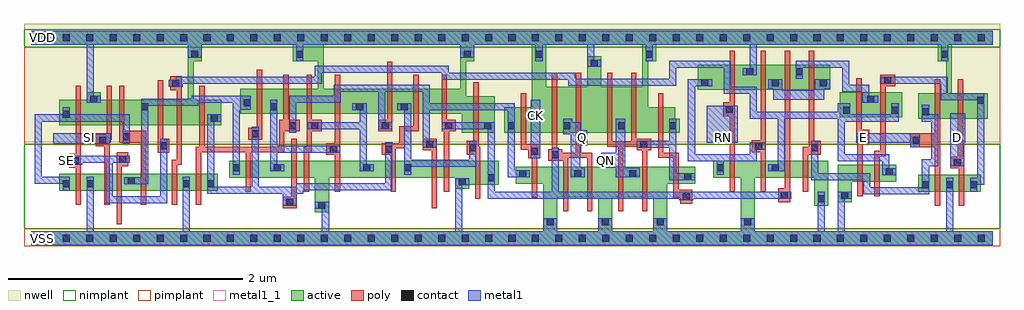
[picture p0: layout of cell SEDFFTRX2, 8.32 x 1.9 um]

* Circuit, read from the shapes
.subckt SEDFFTRX2 CK D E Q QN RN SE SI VDD VSS
M1 VSS SE n1 VSS nfet w=0.145u l=0.045u
M2 n2 SI VSS VSS nfet w=0.145u l=0.045u
M3 n3 SE n2 VSS nfet w=0.145u l=0.045u
M4 n4 n1 n3 VSS nfet w=0.145u l=0.045u
M5 VSS n5 n4 VSS nfet w=0.145u l=0.045u
M6 n6 n7 VSS VSS nfet w=0.145u l=0.045u
M7 n8 n7 n3 VSS nfet w=0.145u l=0.045u
M8 n9 n6 n8 VSS nfet w=0.145u l=0.045u
M9 VSS n10 n9 VSS nfet w=0.145u l=0.045u
M10 n10 n8 VSS VSS nfet w=0.145u l=0.045u
M11 n11 n6 n10 VSS nfet w=0.145u l=0.045u
M12 n12 n7 n11 VSS nfet w=0.145u l=0.045u
M13 VSS n13 n12 VSS nfet w=0.145u l=0.045u
M14 n13 n11 VSS VSS nfet w=0.205u l=0.045u
M15 VSS CK n7 VSS nfet w=0.145u l=0.045u
M16 Q n13 VSS VSS nfet w=0.26u l=0.045u m=2
M17 QN n14 VSS VSS nfet w=0.26u l=0.045u m=2
M18 n14 n13 VSS VSS nfet w=0.145u l=0.045u
M19 VSS RN n15 VSS nfet w=0.145u l=0.045u
M20 n5 n15 VSS VSS nfet w=0.145u l=0.045u
M21 n16 n13 n5 VSS nfet w=0.145u l=0.045u
M22 VSS n17 n16 VSS nfet w=0.145u l=0.045u
M23 n18 E VSS VSS nfet w=0.145u l=0.045u
M24 n5 n19 n18 VSS nfet w=0.145u l=0.045u
M25 VSS E n17 VSS nfet w=0.145u l=0.045u
M26 n19 D VSS VSS nfet w=0.145u l=0.045u
M27 VDD SE n1 VDD pfet w=0.215u l=0.045u
M28 n20 SI VDD VDD pfet w=0.215u l=0.045u
M29 n3 n1 n20 VDD pfet w=0.215u l=0.045u
M30 n21 SE n3 VDD pfet w=0.215u l=0.045u
M31 VDD n5 n21 VDD pfet w=0.215u l=0.045u
M32 n6 n7 VDD VDD pfet w=0.215u l=0.045u
M33 n8 n6 n3 VDD pfet w=0.215u l=0.045u
M34 n22 n7 n8 VDD pfet w=0.215u l=0.045u
M35 VDD n10 n22 VDD pfet w=0.215u l=0.045u
M36 n10 n8 VDD VDD pfet w=0.215u l=0.045u
M37 n11 n7 n10 VDD pfet w=0.215u l=0.045u
M38 n23 n6 n11 VDD pfet w=0.215u l=0.045u
M39 VDD n13 n23 VDD pfet w=0.215u l=0.045u
M40 n13 n11 VDD VDD pfet w=0.31u l=0.045u
M41 VDD CK n7 VDD pfet w=0.215u l=0.045u
M42 Q n13 VDD VDD pfet w=0.39u l=0.045u m=2
M43 QN n14 VDD VDD pfet w=0.39u l=0.045u m=2
M44 n14 n13 VDD VDD pfet w=0.215u l=0.045u
M45 VDD RN n15 VDD pfet w=0.215u l=0.045u
M46 n24 n15 VDD VDD pfet w=0.215u l=0.045u
M47 n25 n13 n24 VDD pfet w=0.215u l=0.045u
M48 n24 n17 n25 VDD pfet w=0.215u l=0.045u
M49 n25 E n5 VDD pfet w=0.215u l=0.045u
M50 n5 n19 n25 VDD pfet w=0.215u l=0.045u
M51 VDD E n17 VDD pfet w=0.215u l=0.045u
M52 n19 D VDD VDD pfet w=0.215u l=0.045u
.ends

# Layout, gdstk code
import gdstk
lib = gdstk.Library(unit=1e-6, precision=5e-10)
def R(c, l, rs):  # rectangles x0, y0, x1, y1
    for r in rs: c.add(gdstk.rectangle(r[:2], r[2:], *l))
def A(c, l, x, y, w, h, nx, ny, dx, dy):  # array of equal rectangles
    R(c, l, [(x+i*dx, y+j*dy, x+i*dx+w, y+j*dy+h) for i in range(nx) for j in range(ny)])
def P(c, l, *ps):  # polygons
    for p in ps: c.add(gdstk.Polygon(p, *l))
active = (1, 0)
nwell = (2, 0)
poly = (3, 0)
nimplant = (4, 0)
pimplant = (5, 0)
contact = (6, 0)
metal1 = (7, 0)
metal1_1 = (7, 1)

sedfftrx2 = lib.new_cell('SEDFFTRX2')
R(sedfftrx2, active, [(7.565,0.395,8.095,0.54), (0.24,0.405,1.59,0.55), (6.895,1.03,7.425,1.245), (5.685,1.265,6.815,1.48)])
P(sedfftrx2, active, [(0,1.77),(8.2,1.77),(8.2,1.65),(7.85,1.65),(7.85,1.235),(8.155,1.235),(8.155,1.02),(7.565,1.02),(7.565,1.235),(7.8,1.235),(7.8,1.51),(7.73,1.51),(7.73,1.65),(5.33,1.65),(5.33,1.51),(5.26,1.51),(5.26,1.115),(5.49,1.115),(5.49,1.02),(5.53,1.02),(5.53,0.9),(4.035,0.9),(4.035,1.115),(4.27,1.115),(4.27,1.65),(4.39,1.65),(4.39,1.29),(4.74,1.29),(4.74,1.55),(4.86,1.55),(4.86,1.29),(5.21,1.29),(5.21,1.65),(3.78,1.65),(3.78,1.51),(3.71,1.51),(3.71,1.21),(3.955,1.21),(3.955,0.9),(3.67,0.9),(3.67,1.06),(1.785,1.06),(1.785,1.275),(2.445,1.275),(2.445,1.51),(2.23,1.51),(2.23,1.65),(2.495,1.65),(2.495,1.275),(3.66,1.275),(3.66,1.65),(1.455,1.65),(1.455,1.51),(1.385,1.51),(1.385,1.18),(1.62,1.18),(1.62,0.965),(0.24,0.965),(0.24,1.18),(0.475,1.18),(0.475,1.245),(0.595,1.245),(0.595,1.18),(1.335,1.18),(1.335,1.65),(0,1.65)],
  [(4.13,0.61),(5.66,0.61),(5.66,0.465),(5.425,0.465),(5.425,0.06),(6.05,0.06),(6.05,0.515),(5.815,0.515),(5.815,0.66),(6.795,0.66),(6.795,0.275),(6.675,0.275),(6.675,0.515),(6.17,0.515),(6.17,0.06),(8.2,0.06),(8.2,-0.06),(0,-0.06),(0,0.06),(4.365,0.06),(4.365,0.35),(4.485,0.35),(4.485,0.06),(4.835,0.06),(4.835,0.35),(4.955,0.35),(4.955,0.06),(5.305,0.06),(5.305,0.35),(4.365,0.35),(4.365,0.465),(4.13,0.465)],
  [(1.69,0.66),(3.985,0.66),(3.985,0.455),(3.735,0.455),(3.735,0.42),(3.615,0.42),(3.615,0.515),(2.54,0.515),(2.54,0.22),(2.42,0.22),(2.42,0.515),(1.69,0.515)],
  [(6.875,0.625),(7.375,0.625),(7.375,0.48),(6.995,0.48),(6.995,0.305),(6.875,0.305)])
R(sedfftrx2, nwell, [(-0.06,0.82,8.26,1.83)])
P(sedfftrx2, poly, [(1.185,1.38),(1.285,1.38),(1.285,0.625),(1.245,0.625),(1.245,0.285),(1.2,0.285),(1.2,0.67),(1.24,0.67),(1.24,1.26),(1.185,1.26)],
  [(0.38,1.3),(0.425,1.3),(0.425,0.285),(0.38,0.285),(0.38,0.6),(0.325,0.6),(0.325,0.72),(0.38,0.72)],
  [(0.645,1.3),(0.69,1.3),(0.69,0.84),(0.67,0.84),(0.67,0.285),(0.625,0.285),(0.625,0.785),(0.55,0.785),(0.55,0.885),(0.645,0.885)],
  [(0.75,1.3),(0.795,1.3),(0.795,0.915),(0.98,0.915),(0.98,0.285),(0.935,0.285),(0.935,0.815),(0.75,0.815)],
  [(1.08,1.345),(1.125,1.345),(1.125,0.85),(1.18,0.85),(1.18,0.73),(1.08,0.73)],
  [(1.435,1.3),(1.48,1.3),(1.48,0.78),(2.115,0.78),(2.115,1.01),(2.15,1.01),(2.15,1.395),(2.195,1.395),(2.195,1.01),(2.29,1.01),(2.29,0.91),(2.16,0.91),(2.16,0.735),(1.875,0.735),(1.875,0.395),(1.83,0.395),(1.83,0.735),(1.45,0.735),(1.45,0.285),(1.405,0.285),(1.405,0.78),(1.435,0.78)],
  [(1.925,1.435),(1.97,1.435),(1.97,0.84),(1.85,0.84),(1.85,0.94),(1.925,0.94)],
  [(2.35,1.395),(2.395,1.395),(2.395,1.01),(2.48,1.01),(2.48,0.91),(2.395,0.91),(2.395,0.735),(2.37,0.735),(2.37,0.395),(2.325,0.395),(2.325,0.78),(2.35,0.78)],
  [(2.59,1.395),(2.635,1.395),(2.635,0.395),(2.59,0.395),(2.59,0.71),(2.515,0.71),(2.515,0.81),(2.59,0.81)],
  [(3.035,1.505),(3.08,1.505),(3.08,0.91),(2.96,0.91),(2.96,1.01),(3.035,1.01)],
  [(3.26,1.395),(3.305,1.395),(3.305,0.91),(3.185,0.91),(3.185,0.765),(3.11,0.765),(3.11,0.395),(3.065,0.395),(3.065,0.71),(2.99,0.71),(2.99,0.81),(3.14,0.81),(3.14,0.955),(3.26,0.955)],
  [(3.5,1.395),(3.545,1.395),(3.545,1.01),(3.62,1.01),(3.62,0.91),(3.565,0.91),(3.565,0.395),(3.52,0.395),(3.52,0.91),(3.5,0.91)],
  [(3.77,1.33),(3.815,1.33),(3.815,0.78),(3.83,0.78),(3.83,0.335),(3.785,0.335),(3.785,0.71),(3.715,0.71),(3.715,0.83),(3.77,0.83)],
  [(4.44,1.41),(4.485,1.41),(4.485,0.76),(4.53,0.76),(4.53,0.73),(4.645,0.73),(4.645,1.41),(4.69,1.41),(4.69,0.73),(4.785,0.73),(4.785,0.23),(4.74,0.23),(4.74,0.685),(4.58,0.685),(4.58,0.23),(4.535,0.23),(4.535,0.66),(4.41,0.66),(4.41,0.76),(4.44,0.76)],
  [(4.175,1.235),(4.22,1.235),(4.22,0.8),(4.34,0.8),(4.34,0.68),(4.315,0.68),(4.315,0.345),(4.27,0.345),(4.27,0.68),(4.24,0.68),(4.24,0.755),(4.175,0.755)],
  [(4.91,1.41),(4.955,1.41),(4.955,0.825),(5.115,0.825),(5.115,1.41),(5.16,1.41),(5.16,0.85),(5.285,0.85),(5.285,0.75),(5.255,0.75),(5.255,0.23),(5.21,0.23),(5.21,0.75),(5.165,0.75),(5.165,0.78),(5.05,0.78),(5.05,0.23),(5.005,0.23),(5.005,0.78),(4.91,0.78)],
  [(5.955,1.6),(6,1.6),(6,0.395),(5.955,0.395),(5.955,1.04),(5.9,1.04),(5.9,1.16),(5.955,1.16)],
  [(6.22,1.6),(6.265,1.6),(6.265,0.395),(6.22,0.395),(6.22,0.735),(6.145,0.735),(6.145,0.835),(6.22,0.835)],
  [(6.425,1.6),(6.47,1.6),(6.47,0.305),(6.37,0.305),(6.37,0.425),(6.425,0.425)],
  [(6.63,1.6),(6.675,1.6),(6.675,0.83),(6.73,0.83),(6.73,0.71),(6.625,0.71),(6.625,0.395),(6.58,0.395),(6.58,0.78),(6.63,0.78)],
  [(5.345,1.235),(5.39,1.235),(5.39,0.73),(5.52,0.73),(5.52,0.415),(5.635,0.415),(5.635,0.295),(5.535,0.295),(5.535,0.345),(5.475,0.345),(5.475,0.685),(5.345,0.685)],
  [(7.24,1.395),(7.365,1.395),(7.365,1.295),(7.285,1.295),(7.285,0.7),(7.235,0.7),(7.235,0.36),(7.19,0.36),(7.19,0.745),(7.24,0.745)],
  [(7.035,1.365),(7.08,1.365),(7.08,0.925),(7.145,0.925),(7.145,0.805),(7.09,0.805),(7.09,0.36),(7.045,0.36),(7.045,0.88),(7.035,0.88)],
  [(7.705,1.355),(7.75,1.355),(7.75,0.275),(7.705,0.275),(7.705,0.775),(7.495,0.775),(7.495,0.895),(7.705,0.895)],
  [(7.9,1.355),(7.945,1.355),(7.945,0.695),(7.955,0.695),(7.955,0.275),(7.91,0.275),(7.91,0.595),(7.835,0.595),(7.835,0.695),(7.9,0.695)],
  [(3.34,0.85),(3.46,0.85),(3.46,0.255),(3.415,0.255),(3.415,0.75),(3.34,0.75)],
  [(0.73,0.735),(0.83,0.735),(0.83,0.615),(0.775,0.615),(0.775,0.12),(0.73,0.12)],
  [(2.22,0.85),(2.265,0.85),(2.265,0.255),(2.145,0.255),(2.145,0.355),(2.22,0.355)])
R(sedfftrx2, nimplant, [(-0.06,0.08,8.26,0.8), (-0.06,1.63,8.26,1.78)])
R(sedfftrx2, pimplant, [(-0.06,-0.07,8.26,0.08), (-0.06,0.8,8.26,1.63)])
A(sedfftrx2, contact, 0.07, -0.03, 0.06, 0.06, 41, 2, 0.2, 1.71)
A(sedfftrx2, contact, 4.395, 0.11, 0.06, 0.06, 3, 1, 0.47, 0)
A(sedfftrx2, contact, 7.595, 0.425, 0.06, 0.06, 3, 1, 0.205, 0)
A(sedfftrx2, contact, 4.16, 0.52, 0.06, 0.06, 3, 1, 0.47, 0)
A(sedfftrx2, contact, 4.065, 0.93, 0.06, 0.06, 3, 1, 0.47, 0)
R(sedfftrx2, contact, [(6.08,0.11,6.14,0.17), (2.45,0.25,2.51,0.31), (2.175,0.275,2.235,0.335), (6.705,0.305,6.765,0.365), (5.555,0.325,5.615,0.385), (6.39,0.335,6.45,0.395), (6.905,0.335,6.965,0.395), (0.27,0.435,0.33,0.495), (0.475,0.435,0.535,0.495), (1.295,0.435,1.355,0.495), (1.5,0.435,1.56,0.495), (3.645,0.45,3.705,0.51), (0.825,0.46,0.885,0.52), (3.895,0.485,3.955,0.545), (5.57,0.495,5.63,0.555), (7.285,0.535,7.345,0.595), (1.72,0.57,1.78,0.63), (2.07,0.57,2.13,0.63), (2.83,0.57,2.89,0.63), (3.18,0.57,3.24,0.63), (5.845,0.57,5.905,0.63), (6.315,0.57,6.375,0.63), (7.865,0.615,7.925,0.675), (0.345,0.63,0.405,0.69), (0.75,0.645,0.81,0.705), (4.44,0.68,4.5,0.74), (4.26,0.71,4.32,0.77), (2.545,0.73,2.605,0.79), (3.02,0.73,3.08,0.79), (3.735,0.74,3.795,0.8), (6.65,0.74,6.71,0.8), (6.175,0.755,6.235,0.815), (1.1,0.76,1.16,0.82), (3.37,0.77,3.43,0.83), (5.195,0.77,5.255,0.83), (0.58,0.805,0.64,0.865), (7.515,0.805,7.575,0.865), (0.78,0.835,0.84,0.895), (7.065,0.835,7.125,0.895), (1.88,0.86,1.94,0.92), (2.2,0.93,2.26,0.99), (2.39,0.93,2.45,0.99), (2.99,0.93,3.05,0.99), (3.53,0.93,3.59,0.99), (3.865,0.93,3.925,0.99), (5.44,0.93,5.5,0.99), (1.53,0.995,1.59,1.055), (0.27,1.025,0.33,1.085), (7.595,1.05,7.655,1.11), (6.925,1.06,6.985,1.12), (7.335,1.06,7.395,1.12), (5.92,1.07,5.98,1.13), (0.94,1.09,1,1.15), (2.04,1.09,2.1,1.15), (2.77,1.09,2.83,1.15), (3.15,1.09,3.21,1.15), (1.815,1.125,1.875,1.185), (8.065,1.145,8.125,1.205), (0.505,1.155,0.565,1.215), (7.13,1.155,7.19,1.215), (1.205,1.29,1.265,1.35), (5.715,1.295,5.775,1.355), (6.315,1.295,6.375,1.355), (6.725,1.295,6.785,1.355), (7.275,1.315,7.335,1.375), (6.095,1.39,6.155,1.45), (6.52,1.39,6.58,1.45), (4.77,1.46,4.83,1.52), (1.365,1.54,1.425,1.6), (2.26,1.54,2.32,1.6), (3.69,1.54,3.75,1.6), (4.3,1.54,4.36,1.6), (5.24,1.54,5.3,1.6), (7.76,1.54,7.82,1.6)])
R(sedfftrx2, metal1, [(4.26,0.68,4.34,1.18), (5.76,0.815,6.025,1.13)])
P(sedfftrx2, metal1, [(0,1.77),(8.2,1.77),(8.2,1.65),(7.82,1.65),(7.82,1.51),(7.76,1.51),(7.76,1.65),(6.185,1.65),(6.185,1.39),(6.065,1.39),(6.065,1.45),(6.125,1.45),(6.125,1.65),(5.3,1.65),(5.3,1.51),(5.24,1.51),(5.24,1.65),(4.8,1.65),(4.8,1.52),(4.86,1.52),(4.86,1.46),(4.74,1.46),(4.74,1.65),(4.36,1.65),(4.36,1.51),(4.3,1.51),(4.3,1.65),(3.78,1.65),(3.78,1.54),(3.66,1.54),(3.66,1.65),(2.32,1.65),(2.32,1.51),(2.26,1.51),(2.26,1.65),(1.455,1.65),(1.455,1.54),(1.335,1.54),(1.335,1.65),(0.535,1.65),(0.535,1.215),(0.595,1.215),(0.595,1.155),(0.475,1.155),(0.475,1.65),(0,1.65)],
  [(2.42,1.47),(3.56,1.47),(3.56,1.41),(4.64,1.41),(4.64,1.36),(5.44,1.36),(5.44,1.515),(5.965,1.515),(5.965,1.29),(6.185,1.29),(6.185,1.08),(6.875,1.08),(6.875,1.15),(6.985,1.15),(6.985,1.055),(7.335,1.055),(7.335,1.15),(7.395,1.15),(7.395,0.995),(6.935,0.995),(6.935,0.715),(7.315,0.715),(7.315,0.595),(7.375,0.595),(7.375,0.535),(7.255,0.535),(7.255,0.655),(6.875,0.655),(6.875,1.02),(6.425,1.02),(6.425,0.57),(6.285,0.57),(6.285,0.63),(6.365,0.63),(6.365,1.02),(6.125,1.02),(6.125,1.23),(5.905,1.23),(5.905,1.455),(5.5,1.455),(5.5,1.3),(4.58,1.3),(4.58,1.35),(3.5,1.35),(3.5,1.41),(2.48,1.41),(2.48,1.315),(1.295,1.315),(1.295,1.29),(1.175,1.29),(1.175,1.35),(1.235,1.35),(1.235,1.375),(2.42,1.375)],
  [(1.37,1.215),(1.875,1.215),(1.875,1.095),(1.78,1.095),(1.78,0.54),(1.72,0.54),(1.72,1.155),(1.425,1.155),(1.425,1.13),(1,1.13),(1,0.46),(0.795,0.46),(0.795,0.52),(0.94,0.52),(0.94,1.19),(1.37,1.19)],
  [(0.27,1.115),(0.33,1.115),(0.33,1.055),(0.84,1.055),(0.84,0.805),(0.78,0.805),(0.78,0.995),(0.09,0.995),(0.09,0.525),(0.33,0.525),(0.33,0.405),(0.27,0.405),(0.27,0.465),(0.03,0.465),(0.03,1.055),(0.27,1.055)],
  [(2.58,1.31),(3.4,1.31),(3.4,1.15),(4.125,1.15),(4.125,0.58),(4.25,0.58),(4.25,0.52),(4.065,0.52),(4.065,1.09),(3.4,1.09),(3.4,0.83),(3.46,0.83),(3.46,0.77),(3.34,0.77),(3.34,1.25),(3.02,1.25),(3.02,0.99),(3.08,0.99),(3.08,0.93),(2.96,0.93),(2.96,1.25),(2.64,1.25),(2.64,1.155),(2.26,1.155),(2.26,0.9),(2.2,0.9),(2.2,1.215),(2.58,1.215)],
  [(0.19,0.895),(0.68,0.895),(0.68,0.815),(0.67,0.815),(0.67,0.805),(0.19,0.805)],
  [(0.235,0.705),(0.84,0.705),(0.84,0.645),(0.695,0.645),(0.695,0.36),(1.1,0.36),(1.1,0.85),(1.16,0.85),(1.16,0.3),(0.635,0.3),(0.635,0.645),(0.435,0.645),(0.435,0.625),(0.235,0.625)],
  [(0.475,0.525),(0.535,0.525),(0.535,0.06),(1.295,0.06),(1.295,0.525),(1.355,0.525),(1.355,0.06),(2.48,0.06),(2.48,0.25),(2.42,0.25),(2.42,0.31),(2.54,0.31),(2.54,0.06),(3.615,0.06),(3.615,0.51),(3.735,0.51),(3.735,0.45),(3.675,0.45),(3.675,0.06),(4.365,0.06),(4.365,0.17),(4.485,0.17),(4.485,0.06),(4.835,0.06),(4.835,0.17),(4.955,0.17),(4.955,0.06),(5.305,0.06),(5.305,0.17),(5.425,0.17),(5.425,0.06),(6.05,0.06),(6.05,0.17),(6.17,0.17),(6.17,0.06),(6.705,0.06),(6.705,0.395),(6.765,0.395),(6.765,0.06),(6.875,0.06),(6.875,0.395),(6.995,0.395),(6.995,0.335),(6.935,0.335),(6.935,0.06),(7.8,0.06),(7.8,0.515),(7.86,0.515),(7.86,0.06),(8.2,0.06),(8.2,-0.06),(0,-0.06),(0,0.06),(0.475,0.06)],
  [(1.5,1.055),(1.62,1.055),(1.62,0.995),(1.56,0.995),(1.56,0.44),(1.88,0.44),(1.88,0.95),(1.94,0.95),(1.94,0.44),(2.26,0.44),(2.26,0.47),(3.02,0.47),(3.02,0.82),(3.08,0.82),(3.08,0.41),(2.32,0.41),(2.32,0.38),(2.265,0.38),(2.265,0.275),(2.145,0.275),(2.145,0.38),(1.5,0.38)],
  [(2.04,1.18),(2.1,1.18),(2.1,0.79),(2.635,0.79),(2.635,0.73),(2.1,0.73),(2.1,0.63),(2.16,0.63),(2.16,0.57),(2.04,0.57)],
  [(2.74,1.15),(2.86,1.15),(2.86,0.63),(2.92,0.63),(2.92,0.57),(2.8,0.57),(2.8,0.93),(2.36,0.93),(2.36,0.99),(2.8,0.99),(2.8,1.09),(2.74,1.09)],
  [(3.12,1.15),(3.24,1.15),(3.24,0.67),(3.735,0.67),(3.735,0.83),(3.795,0.83),(3.795,0.61),(3.24,0.61),(3.24,0.54),(3.18,0.54),(3.18,1.09),(3.12,1.09)],
  [(5.6,1.355),(5.805,1.355),(5.805,1.295),(5.66,1.295),(5.66,0.715),(6.125,0.715),(6.125,0.815),(6.265,0.815),(6.265,0.755),(6.185,0.755),(6.185,0.655),(5.905,0.655),(5.905,0.54),(5.845,0.54),(5.845,0.655),(5.6,0.655)],
  [(6.52,1.515),(6.975,1.515),(6.975,1.31),(7.145,1.31),(7.145,1.215),(7.22,1.215),(7.22,1.155),(7.085,1.155),(7.085,1.25),(6.915,1.25),(6.915,1.455),(6.58,1.455),(6.58,1.36),(6.52,1.36)],
  [(7.245,1.375),(7.815,1.375),(7.815,1.235),(8.125,1.235),(8.125,0.455),(8.065,0.455),(8.065,0.395),(8.005,0.395),(8.005,0.515),(8.065,0.515),(8.065,1.175),(7.755,1.175),(7.755,1.315),(7.245,1.315)],
  [(6.285,1.355),(6.405,1.355),(6.405,1.26),(6.68,1.26),(6.68,1.355),(6.815,1.355),(6.815,1.275),(6.76,1.275),(6.76,1.18),(6.325,1.18),(6.325,1.275),(6.285,1.275)],
  [(3.5,0.99),(3.955,0.99),(3.955,0.395),(4.44,0.395),(4.44,0.77),(4.5,0.77),(4.5,0.395),(6.48,0.395),(6.48,0.335),(5.645,0.335),(5.645,0.325),(5.525,0.325),(5.525,0.335),(3.895,0.335),(3.895,0.93),(3.5,0.93)],
  [(4.535,1.02),(4.615,1.02),(4.615,0.99),(4.685,0.99),(4.685,0.92),(4.74,0.92),(4.74,0.79),(4.68,0.79),(4.68,0.6),(4.72,0.6),(4.72,0.52),(4.6,0.52),(4.6,0.885),(4.535,0.885)],
  [(4.985,1.02),(5.065,1.02),(5.065,0.6),(5.19,0.6),(5.19,0.52),(4.985,0.52),(4.985,0.6),(4.86,0.6),(4.86,0.73),(4.985,0.73)],
  [(5.44,1.02),(5.5,1.02),(5.5,0.555),(5.66,0.555),(5.66,0.495),(5.44,0.495),(5.44,0.77),(5.165,0.77),(5.165,0.83),(5.44,0.83)],
  [(7.595,1.14),(7.655,1.14),(7.655,1.055),(7.735,1.055),(7.735,0.615),(7.655,0.615),(7.655,0.375),(7.095,0.375),(7.095,0.495),(6.65,0.495),(6.65,0.83),(6.71,0.83),(6.71,0.555),(7.155,0.555),(7.155,0.435),(7.595,0.435),(7.595,0.675),(7.675,0.675),(7.675,0.995),(7.595,0.995)],
  [(7.035,0.895),(7.575,0.895),(7.575,0.775),(7.495,0.775),(7.495,0.815),(7.035,0.815)],
  [(7.835,1.065),(7.965,1.065),(7.965,0.815),(7.955,0.815),(7.955,0.615),(7.835,0.615)])
A(sedfftrx2, metal1_1, 4.66, 0.815, 0.08, 0.08, 3, 1, 1.2, 0)
R(sedfftrx2, metal1_1, [(0.06,-0.04,0.14,0.04), (0.26,0.625,0.34,0.705), (4.86,0.625,4.94,0.705), (0.46,0.815,0.54,0.895), (7.86,0.815,7.94,0.895), (4.26,1.005,4.34,1.085), (0.06,1.67,0.14,1.75)])
sedfftrx2.add(gdstk.Label('QN', (4.9,0.665), layer=7, texttype=1))
sedfftrx2.add(gdstk.Label('Q', (4.7,0.855), layer=7, texttype=1))
sedfftrx2.add(gdstk.Label('D', (7.9,0.855), layer=7, texttype=1))
sedfftrx2.add(gdstk.Label('E', (7.1,0.855), layer=7, texttype=1))
sedfftrx2.add(gdstk.Label('RN', (5.9,0.855), layer=7, texttype=1))
sedfftrx2.add(gdstk.Label('CK', (4.3,1.045), layer=7, texttype=1))
sedfftrx2.add(gdstk.Label('SI', (0.5,0.855), layer=7, texttype=1))
sedfftrx2.add(gdstk.Label('SE', (0.3,0.665), layer=7, texttype=1))
sedfftrx2.add(gdstk.Label('VDD', (0.1,1.71), layer=7, texttype=1))
sedfftrx2.add(gdstk.Label('VSS', (0.1,0), layer=7, texttype=1))
sedfftrx2.add(gdstk.Label('SEDFFTRX2', (0,0), layer=63, texttype=0))

lib.write_gds('SEDFFTRX2.gds')
